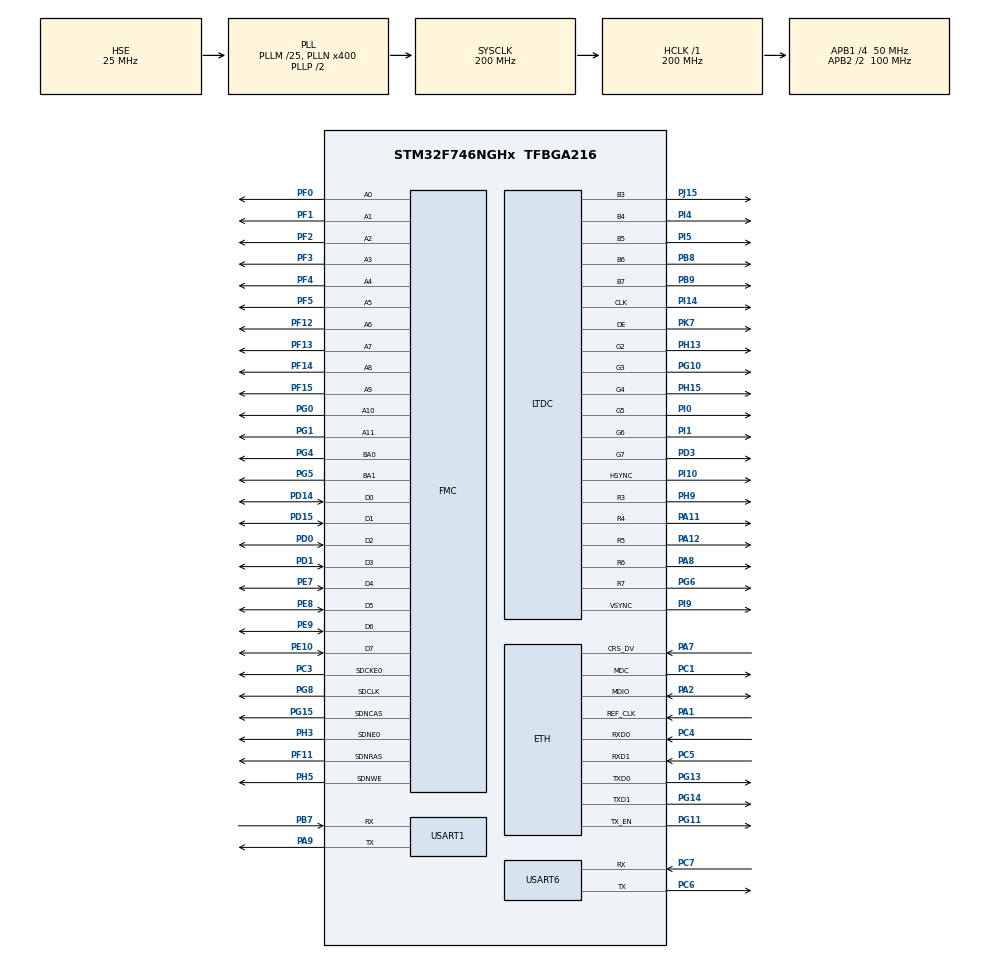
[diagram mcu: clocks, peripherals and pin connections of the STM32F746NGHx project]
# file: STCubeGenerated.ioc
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CORTEX_M7.AccessPermission-Cortex_Memory_Protection_Unit_Region0_Settings=MPU_REGION_FULL_ACCESS
CORTEX_M7.AccessPermission-Cortex_Memory_Protection_Unit_Region1_Settings=MPU_REGION_FULL_ACCESS
CORTEX_M7.AccessPermission-Cortex_Memory_Protection_Unit_Region2_Settings=MPU_REGION_FULL_ACCESS
CORTEX_M7.BaseAddress-Cortex_Memory_Protection_Unit_Region0_Settings=0x20000000
CORTEX_M7.BaseAddress-Cortex_Memory_Protection_Unit_Region1_Settings=0x2004C000
CORTEX_M7.BaseAddress-Cortex_Memory_Protection_Unit_Region2_Settings=0xC0000000
CORTEX_M7.CPU_DCache=Enabled
CORTEX_M7.CPU_ICache=Enabled
CORTEX_M7.DisableExec-Cortex_Memory_Protection_Unit_Region0_Settings=MPU_INSTRUCTION_ACCESS_DISABLE
CORTEX_M7.DisableExec-Cortex_Memory_Protection_Unit_Region1_Settings=MPU_INSTRUCTION_ACCESS_DISABLE
CORTEX_M7.DisableExec-Cortex_Memory_Protection_Unit_Region2_Settings=MPU_INSTRUCTION_ACCESS_DISABLE
CORTEX_M7.Enable-Cortex_Memory_Protection_Unit_Region0_Settings=MPU_REGION_ENABLE
CORTEX_M7.Enable-Cortex_Memory_Protection_Unit_Region1_Settings=MPU_REGION_ENABLE
CORTEX_M7.Enable-Cortex_Memory_Protection_Unit_Region2_Settings=MPU_REGION_ENABLE
CORTEX_M7.IsBufferable-Cortex_Memory_Protection_Unit_Region0_Settings=MPU_ACCESS_BUFFERABLE
CORTEX_M7.IsCacheable-Cortex_Memory_Protection_Unit_Region0_Settings=MPU_ACCESS_CACHEABLE
CORTEX_M7.IsShareable-Cortex_Memory_Protection_Unit_Region0_Settings=MPU_ACCESS_NOT_SHAREABLE
CORTEX_M7.MPU_Control=MPU_PRIVILEGED_DEFAULT
CORTEX_M7.Size-Cortex_Memory_Protection_Unit_Region0_Settings=MPU_REGION_SIZE_512KB
CORTEX_M7.Size-Cortex_Memory_Protection_Unit_Region1_Settings=MPU_REGION_SIZE_16KB
CORTEX_M7.Size-Cortex_Memory_Protection_Unit_Region2_Settings=MPU_REGION_SIZE_16MB
CORTEX_M7.TypeExtField-Cortex_Memory_Protection_Unit_Region0_Settings=MPU_TEX_LEVEL1
CORTEX_M7.TypeExtField-Cortex_Memory_Protection_Unit_Region1_Settings=MPU_TEX_LEVEL1
CORTEX_M7.TypeExtField-Cortex_Memory_Protection_Unit_Region2_Settings=MPU_TEX_LEVEL1
ETH.MediaInterface=HAL_ETH_RMII_MODE
Mcu.Family=STM32F7
Mcu.Name=STM32F746NGHx
Mcu.Package=TFBGA216
NVIC.ETH_IRQn=true\:0\:0\:false\:false\:false\:true\:true\:true
NVIC.PriorityGroup=NVIC_PRIORITYGROUP_4
PA1.Mode=RMII
PA1.Signal=ETH_REF_CLK
PA11.Mode=RGB565
PA11.Signal=LTDC_R4
PA12.Mode=RGB565
PA12.Signal=LTDC_R5
PA2.Mode=RMII
PA2.Signal=ETH_MDIO
PA7.Mode=RMII
PA7.Signal=ETH_CRS_DV
PA8.Mode=RGB565
PA8.Signal=LTDC_R6
PA9.Mode=Asynchronous
PA9.Signal=USART1_TX
PB7.Mode=Asynchronous
PB7.Signal=USART1_RX
PB8.Mode=RGB565
PB8.Signal=LTDC_B6
PB9.Mode=RGB565
PB9.Signal=LTDC_B7
PC1.Mode=RMII
PC1.Signal=ETH_MDC
PC3.Mode=SdramChipSelect1_1
PC3.Signal=FMC_SDCKE0
PC4.Mode=RMII
PC4.Signal=ETH_RXD0
PC5.Mode=RMII
PC5.Signal=ETH_RXD1
PC6.Mode=Asynchronous
PC6.Signal=USART6_TX
PC7.Mode=Asynchronous
PC7.Signal=USART6_RX
PD0.Signal=FMC_D2_DA2
PD1.Signal=FMC_D3_DA3
PD10.Signal=FMC_D15_DA15
PD11.Signal=FMC_A16_CLE
PD14.Signal=FMC_D0_DA0
PD15.Signal=FMC_D1_DA1
PD3.Mode=RGB565
PD3.Signal=LTDC_G7
PD8.Signal=FMC_D13_DA13
PD9.Signal=FMC_D14_DA14
PE0.Signal=FMC_NBL0
PE1.Signal=FMC_NBL1
PE10.Signal=FMC_D7_DA7
PE11.Signal=FMC_D8_DA8
PE12.Signal=FMC_D9_DA9
PE13.Signal=FMC_D10_DA10
PE14.Signal=FMC_D11_DA11
PE15.Signal=FMC_D12_DA12
PE7.Signal=FMC_D4_DA4
PE8.Signal=FMC_D5_DA5
PE9.Signal=FMC_D6_DA6
PF0.Signal=FMC_A0
PF1.Signal=FMC_A1
PF11.Signal=FMC_SDNRAS
PF12.Signal=FMC_A6
PF13.Signal=FMC_A7
PF14.Signal=FMC_A8
PF15.Signal=FMC_A9
PF2.Signal=FMC_A2
PF3.Signal=FMC_A3
PF4.Signal=FMC_A4
PF5.Signal=FMC_A5
PG0.Signal=FMC_A10
PG1.Signal=FMC_A11
PG10.Mode=RGB565
PG10.Signal=LTDC_G3
PG11.Mode=RMII
PG11.Signal=ETH_TX_EN
PG13.Mode=RMII
PG13.Signal=ETH_TXD0
PG14.Mode=RMII
PG14.Signal=ETH_TXD1
PG15.Signal=FMC_SDNCAS
PG4.Signal=FMC_A14_BA0
PG5.Signal=FMC_A15_BA1
PG6.Mode=RGB565
PG6.Signal=LTDC_R7
PG8.Signal=FMC_SDCLK
PH0/OSC_IN.Mode=HSE-External-Oscillator
PH0/OSC_IN.Signal=RCC_OSC_IN
PH1/OSC_OUT.Mode=HSE-External-Oscillator
PH1/OSC_OUT.Signal=RCC_OSC_OUT
PH13.Mode=RGB565
PH13.Signal=LTDC_G2
PH15.Mode=RGB565
PH15.Signal=LTDC_G4
PH3.Mode=SdramChipSelect1_1
PH3.Signal=FMC_SDNE0
PH5.Signal=FMC_SDNWE
PH9.Mode=RGB565
PH9.Signal=LTDC_R3
PI0.Mode=RGB565
PI0.Signal=LTDC_G5
PI1.Mode=RGB565
PI1.Signal=LTDC_G6
PI10.Mode=RGB565
PI10.Signal=LTDC_HSYNC
PI14.Mode=RGB565
PI14.Signal=LTDC_CLK
PI4.Mode=RGB565
PI4.Signal=LTDC_B4
PI5.Mode=RGB565
PI5.Signal=LTDC_B5
PI9.Mode=RGB565
PI9.Signal=LTDC_VSYNC
PJ15.Mode=RGB565
PJ15.Signal=LTDC_B3
PK7.Mode=RGB565
PK7.Signal=LTDC_DE
ProjectManager.HeapSize=0x200
ProjectManager.StackSize=0x400
ProjectManager.TargetToolchain=MDK-ARM V5
RCC.AHBFreq_Value=200000000
RCC.APB1CLKDivider=RCC_HCLK_DIV4
RCC.APB1Freq_Value=50000000
RCC.APB1TimFreq_Value=100000000
RCC.APB2CLKDivider=RCC_HCLK_DIV2
RCC.APB2Freq_Value=100000000
RCC.APB2TimFreq_Value=200000000
RCC.CortexFreq_Value=200000000
RCC.HCLKFreq_Value=200000000
RCC.HSE_VALUE=25000000
RCC.HSI_VALUE=16000000
RCC.LSE_VALUE=32768
RCC.PLLM=25
RCC.PLLN=400
RCC.PLLSAIRDiv=RCC_PLLSAIDIVR_4
RCC.PLLSourceVirtual=RCC_PLLSOURCE_HSE
RCC.SYSCLKFreq_VALUE=200000000
RCC.SYSCLKSource=RCC_SYSCLKSOURCE_PLLCLK
RCC.USBFreq_Value=200000000
RCC.VCOOutputFreq_Value=400000000
SH.FMC_A0.0=FMC_A0,12b-sda1
SH.FMC_A1.0=FMC_A1,12b-sda1
SH.FMC_A10.0=FMC_A10,12b-sda1
SH.FMC_A11.0=FMC_A11,12b-sda1
SH.FMC_A14_BA0.0=FMC_BA0,FourSdramBanks1
SH.FMC_A15_BA1.0=FMC_BA1,FourSdramBanks1
SH.FMC_A16_CLE.0=FMC_A16
SH.FMC_A2.0=FMC_A2,12b-sda1
SH.FMC_A3.0=FMC_A3,12b-sda1
SH.FMC_A4.0=FMC_A4,12b-sda1
SH.FMC_A5.0=FMC_A5,12b-sda1
SH.FMC_A6.0=FMC_A6,12b-sda1
SH.FMC_A7.0=FMC_A7,12b-sda1
SH.FMC_A8.0=FMC_A8,12b-sda1
SH.FMC_A9.0=FMC_A9,12b-sda1
SH.FMC_D0_DA0.0=FMC_D0,sd-8b-d1
SH.FMC_D10_DA10.0=FMC_D10
SH.FMC_D11_DA11.0=FMC_D11
SH.FMC_D12_DA12.0=FMC_D12
SH.FMC_D13_DA13.0=FMC_D13
SH.FMC_D14_DA14.0=FMC_D14
SH.FMC_D15_DA15.0=FMC_D15
SH.FMC_D1_DA1.0=FMC_D1,sd-8b-d1
SH.FMC_D2_DA2.0=FMC_D2,sd-8b-d1
SH.FMC_D3_DA3.0=FMC_D3,sd-8b-d1
SH.FMC_D4_DA4.0=FMC_D4,sd-8b-d1
SH.FMC_D5_DA5.0=FMC_D5,sd-8b-d1
SH.FMC_D6_DA6.0=FMC_D6,sd-8b-d1
SH.FMC_D7_DA7.0=FMC_D7,sd-8b-d1
SH.FMC_D8_DA8.0=FMC_D8
SH.FMC_D9_DA9.0=FMC_D9
SH.FMC_NBL0.0=FMC_NBL0
SH.FMC_NBL1.0=FMC_NBL1
SH.FMC_SDCLK.0=FMC_SDCLK,12b-sda1
SH.FMC_SDNCAS.0=FMC_SDNCAS,12b-sda1
SH.FMC_SDNRAS.0=FMC_SDNRAS,12b-sda1
SH.FMC_SDNWE.0=FMC_SDNWE,12b-sda1
USART1.VirtualMode-Asynchronous=VM_ASYNC
USART6.OverrunDisableParam=ADVFEATURE_OVERRUN_DISABLE
USART6.VirtualMode-Asynchronous=VM_ASYNC
VP_DMA2D_VS_DMA2D.Mode=DMA2D_Activate
board=STCubeGenerated

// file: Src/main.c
/* USER CODE BEGIN Header */
/**
  ******************************************************************************
  * @file           : main.c
  * @brief          : Main program body
  ******************************************************************************
  * @attention
  *
  * <h2><center>&copy; Copyright (c) 2019 STMicroelectronics.
  * All rights reserved.</center></h2>
  *
  * This software component is licensed by ST under BSD 3-Clause license,
  * the "License"; You may not use this file except in compliance with the
  * License. You may obtain a copy of the License at:
  *                        opensource.org/licenses/BSD-3-Clause
  *
  ******************************************************************************
  */
/* USER CODE END Header */
#include "main.h"
#include "string.h"

#if defined ( __ICCARM__ ) /*!< IAR Compiler */
#pragma location=0x2004c000
ETH_DMADescTypeDef  DMARxDscrTab[ETH_RX_DESC_CNT]; /* Ethernet Rx DMA Descriptors */
#pragma location=0x2004c0a0
ETH_DMADescTypeDef  DMATxDscrTab[ETH_TX_DESC_CNT]; /* Ethernet Tx DMA Descriptors */

#elif defined ( __CC_ARM )  /* MDK ARM Compiler */

__attribute__((at(0x2004c000))) ETH_DMADescTypeDef  DMARxDscrTab[ETH_RX_DESC_CNT]; /* Ethernet Rx DMA Descriptors */
__attribute__((at(0x2004c0a0))) ETH_DMADescTypeDef  DMATxDscrTab[ETH_TX_DESC_CNT]; /* Ethernet Tx DMA Descriptors */

#elif defined ( __GNUC__ ) /* GNU Compiler */
ETH_DMADescTypeDef DMARxDscrTab[ETH_RX_DESC_CNT] __attribute__((section(".RxDecripSection"))); /* Ethernet Rx DMA Descriptors */
ETH_DMADescTypeDef DMATxDscrTab[ETH_TX_DESC_CNT] __attribute__((section(".TxDecripSection")));   /* Ethernet Tx DMA Descriptors */

#endif

ETH_TxPacketConfig TxConfig;

DMA2D_HandleTypeDef hdma2d;

ETH_HandleTypeDef heth;

LTDC_HandleTypeDef hltdc;

UART_HandleTypeDef huart1;
UART_HandleTypeDef huart6;

SDRAM_HandleTypeDef hsdram1;

/* USER CODE BEGIN PV */
/* Private variables ---------------------------------------------------------*/

/* USER CODE END PV */

void SystemClock_Config(void);
static void MPU_Initialize(void);
static void MPU_Config(void);
static void MX_GPIO_Init(void);
static void MX_FMC_Init(void);
static void MX_USART1_UART_Init(void);
static void MX_DMA2D_Init(void);
static void MX_USART6_UART_Init(void);
/* USER CODE BEGIN PFP */
/* Private function prototypes -----------------------------------------------*/
extern void BSP_SDRAM_Init(void);
/* USER CODE END PFP */

/* USER CODE BEGIN 0 */
/**
  * Override default HAL_GetTick function
  */
uint32_t HAL_GetTick (void) {
  static uint32_t ticks = 0U;
         uint32_t i;

  if (osKernelGetState () == osKernelRunning) {
    return ((uint32_t)osKernelGetTickCount ());
  }

  /* If Kernel is not running wait approximately 1 ms then increment
     and return auxiliary tick counter value */
  for (i = (SystemCoreClock >> 14U); i > 0U; i--) {
    __NOP(); __NOP(); __NOP(); __NOP(); __NOP(); __NOP();
    __NOP(); __NOP(); __NOP(); __NOP(); __NOP(); __NOP();
  }
  return ++ticks;
}

/**
  * Override default HAL_InitTick function
  */
HAL_StatusTypeDef HAL_InitTick(uint32_t TickPriority) {

  UNUSED(TickPriority);

  return HAL_OK;
}
/* USER CODE END 0 */

int main(void)
{

  /* Enable I-Cache---------------------------------------------------------*/
  SCB_EnableICache();

  /* Enable D-Cache---------------------------------------------------------*/
  SCB_EnableDCache();

  /* MCU Configuration--------------------------------------------------------*/

  /* Reset of all peripherals, Initializes the Flash interface and the Systick. */
  HAL_Init();

  /* MPU Configuration--------------------------------------------------------*/
  MPU_Config();

  /* USER CODE BEGIN Init */
  BSP_SDRAM_Init();                           /* Initialize BSP SDRAM           */
  /* USER CODE END Init */

  /* Configure the system clock */
  SystemClock_Config();

  /* USER CODE BEGIN SysInit */
  SystemCoreClockUpdate();
  /* USER CODE END SysInit */

  /* Initialize all configured peripherals */
  MX_GPIO_Init();
  MX_USART1_UART_Init();
  MX_DMA2D_Init();
  MX_USART6_UART_Init();
  /* USER CODE BEGIN 2 */

	while(1)
	{
		uint8_t data;
		if(HAL_UART_Receive(&huart1,&data,1,0) == HAL_OK)
			HAL_UART_Transmit(&huart6,&data,1,0);

		if(HAL_UART_Receive(&huart6,&data,1,0) == HAL_OK)
			HAL_UART_Transmit(&huart1,&data,1,0);
	}

  /* Initialize CMSIS-RTOS2 */
  osKernelInitialize ();

  /* Create application main thread */
  osThreadNew(app_main, NULL, &app_main_attr);

  /* Start thread execution */
  osKernelStart();

  /* USER CODE END 2 */

  /* Infinite loop */
  while (1)
  {

  }
}

void SystemClock_Config(void)
{
  RCC_OscInitTypeDef RCC_OscInitStruct = {0};
  RCC_ClkInitTypeDef RCC_ClkInitStruct = {0};

  /** Configure the main internal regulator output voltage
  */
  __HAL_RCC_PWR_CLK_ENABLE();
  __HAL_PWR_VOLTAGESCALING_CONFIG(PWR_REGULATOR_VOLTAGE_SCALE1);

  /** Initializes the RCC Oscillators according to the specified parameters
  * in the RCC_OscInitTypeDef structure.
  */
  RCC_OscInitStruct.OscillatorType = RCC_OSCILLATORTYPE_HSE;
  RCC_OscInitStruct.HSEState = RCC_HSE_ON;
  RCC_OscInitStruct.PLL.PLLState = RCC_PLL_ON;
  RCC_OscInitStruct.PLL.PLLSource = RCC_PLLSOURCE_HSE;
  RCC_OscInitStruct.PLL.PLLM = 25;
  RCC_OscInitStruct.PLL.PLLN = 400;
  RCC_OscInitStruct.PLL.PLLP = RCC_PLLP_DIV2;
  RCC_OscInitStruct.PLL.PLLQ = 2;
  if (HAL_RCC_OscConfig(&RCC_OscInitStruct) != HAL_OK)
  {
    Error_Handler();
  }

  /** Activate the Over-Drive mode
  */
  if (HAL_PWREx_EnableOverDrive() != HAL_OK)
  {
    Error_Handler();
  }

  /** Initializes the CPU, AHB and APB buses clocks
  */
  RCC_ClkInitStruct.ClockType = RCC_CLOCKTYPE_HCLK|RCC_CLOCKTYPE_SYSCLK
                              |RCC_CLOCKTYPE_PCLK1|RCC_CLOCKTYPE_PCLK2;
  RCC_ClkInitStruct.SYSCLKSource = RCC_SYSCLKSOURCE_PLLCLK;
  RCC_ClkInitStruct.AHBCLKDivider = RCC_SYSCLK_DIV1;
  RCC_ClkInitStruct.APB1CLKDivider = RCC_HCLK_DIV4;
  RCC_ClkInitStruct.APB2CLKDivider = RCC_HCLK_DIV2;

  if (HAL_RCC_ClockConfig(&RCC_ClkInitStruct, FLASH_LATENCY_6) != HAL_OK)
  {
    Error_Handler();
  }
}

static void MX_DMA2D_Init(void)
{

  hdma2d.Instance = DMA2D;
  hdma2d.Init.Mode = DMA2D_M2M;
  hdma2d.Init.ColorMode = DMA2D_OUTPUT_ARGB8888;
  hdma2d.Init.OutputOffset = 0;
  hdma2d.LayerCfg[1].InputOffset = 0;
  hdma2d.LayerCfg[1].InputColorMode = DMA2D_INPUT_ARGB8888;
  hdma2d.LayerCfg[1].AlphaMode = DMA2D_NO_MODIF_ALPHA;
  hdma2d.LayerCfg[1].InputAlpha = 0;
  if (HAL_DMA2D_Init(&hdma2d) != HAL_OK)
  {
    Error_Handler();
  }
  if (HAL_DMA2D_ConfigLayer(&hdma2d, 1) != HAL_OK)
  {
    Error_Handler();
  }

}

void MX_ETH_Init(void)
{

   static uint8_t MACAddr[6];

  heth.Instance = ETH;
  MACAddr[0] = 0x00;
  MACAddr[1] = 0x80;
  MACAddr[2] = 0xE1;
  MACAddr[3] = 0x00;
  MACAddr[4] = 0x00;
  MACAddr[5] = 0x00;
  heth.Init.MACAddr = &MACAddr[0];
  heth.Init.MediaInterface = HAL_ETH_RMII_MODE;
  heth.Init.TxDesc = DMATxDscrTab;
  heth.Init.RxDesc = DMARxDscrTab;
  heth.Init.RxBuffLen = 1524;

  if (HAL_ETH_Init(&heth) != HAL_OK)
  {
    Error_Handler();
  }

  memset(&TxConfig, 0 , sizeof(ETH_TxPacketConfig));
  TxConfig.Attributes = ETH_TX_PACKETS_FEATURES_CSUM | ETH_TX_PACKETS_FEATURES_CRCPAD;
  TxConfig.ChecksumCtrl = ETH_CHECKSUM_IPHDR_PAYLOAD_INSERT_PHDR_CALC;
  TxConfig.CRCPadCtrl = ETH_CRC_PAD_INSERT;

}

void MX_LTDC_Init(void)
{

  LTDC_LayerCfgTypeDef pLayerCfg = {0};
  LTDC_LayerCfgTypeDef pLayerCfg1 = {0};

  hltdc.Instance = LTDC;
  hltdc.Init.HSPolarity = LTDC_HSPOLARITY_AL;
  hltdc.Init.VSPolarity = LTDC_VSPOLARITY_AL;
  hltdc.Init.DEPolarity = LTDC_DEPOLARITY_AL;
  hltdc.Init.PCPolarity = LTDC_PCPOLARITY_IPC;
  hltdc.Init.HorizontalSync = 7;
  hltdc.Init.VerticalSync = 3;
  hltdc.Init.AccumulatedHBP = 14;
  hltdc.Init.AccumulatedVBP = 5;
  hltdc.Init.AccumulatedActiveW = 654;
  hltdc.Init.AccumulatedActiveH = 485;
  hltdc.Init.TotalWidth = 660;
  hltdc.Init.TotalHeigh = 487;
  hltdc.Init.Backcolor.Blue = 0;
  hltdc.Init.Backcolor.Green = 0;
  hltdc.Init.Backcolor.Red = 0;
  if (HAL_LTDC_Init(&hltdc) != HAL_OK)
  {
    Error_Handler();
  }
  pLayerCfg.WindowX0 = 0;
  pLayerCfg.WindowX1 = 0;
  pLayerCfg.WindowY0 = 0;
  pLayerCfg.WindowY1 = 0;
  pLayerCfg.PixelFormat = LTDC_PIXEL_FORMAT_ARGB8888;
  pLayerCfg.Alpha = 0;
  pLayerCfg.Alpha0 = 0;
  pLayerCfg.BlendingFactor1 = LTDC_BLENDING_FACTOR1_CA;
  pLayerCfg.BlendingFactor2 = LTDC_BLENDING_FACTOR2_CA;
  pLayerCfg.FBStartAdress = 0;
  pLayerCfg.ImageWidth = 0;
  pLayerCfg.ImageHeight = 0;
  pLayerCfg.Backcolor.Blue = 0;
  pLayerCfg.Backcolor.Green = 0;
  pLayerCfg.Backcolor.Red = 0;
  if (HAL_LTDC_ConfigLayer(&hltdc, &pLayerCfg, 0) != HAL_OK)
  {
    Error_Handler();
  }
  pLayerCfg1.WindowX0 = 0;
  pLayerCfg1.WindowX1 = 0;
  pLayerCfg1.WindowY0 = 0;
  pLayerCfg1.WindowY1 = 0;
  pLayerCfg1.PixelFormat = LTDC_PIXEL_FORMAT_ARGB8888;
  pLayerCfg1.Alpha = 0;
  pLayerCfg1.Alpha0 = 0;
  pLayerCfg1.BlendingFactor1 = LTDC_BLENDING_FACTOR1_CA;
  pLayerCfg1.BlendingFactor2 = LTDC_BLENDING_FACTOR2_CA;
  pLayerCfg1.FBStartAdress = 0;
  pLayerCfg1.ImageWidth = 0;
  pLayerCfg1.ImageHeight = 0;
  pLayerCfg1.Backcolor.Blue = 0;
  pLayerCfg1.Backcolor.Green = 0;
  pLayerCfg1.Backcolor.Red = 0;
  if (HAL_LTDC_ConfigLayer(&hltdc, &pLayerCfg1, 1) != HAL_OK)
  {
    Error_Handler();
  }

}

static void MX_USART1_UART_Init(void)
{

  huart1.Instance = USART1;
  huart1.Init.BaudRate = 115200;
  huart1.Init.WordLength = UART_WORDLENGTH_8B;
  huart1.Init.StopBits = UART_STOPBITS_1;
  huart1.Init.Parity = UART_PARITY_NONE;
  huart1.Init.Mode = UART_MODE_TX_RX;
  huart1.Init.HwFlowCtl = UART_HWCONTROL_NONE;
  huart1.Init.OverSampling = UART_OVERSAMPLING_16;
  huart1.Init.OneBitSampling = UART_ONE_BIT_SAMPLE_DISABLE;
  huart1.AdvancedInit.AdvFeatureInit = UART_ADVFEATURE_NO_INIT;
  if (HAL_UART_Init(&huart1) != HAL_OK)
  {
    Error_Handler();
  }

}

static void MX_USART6_UART_Init(void)
{

  huart6.Instance = USART6;
  huart6.Init.BaudRate = 115200;
  huart6.Init.WordLength = UART_WORDLENGTH_8B;
  huart6.Init.StopBits = UART_STOPBITS_1;
  huart6.Init.Parity = UART_PARITY_NONE;
  huart6.Init.Mode = UART_MODE_TX_RX;
  huart6.Init.HwFlowCtl = UART_HWCONTROL_NONE;
  huart6.Init.OverSampling = UART_OVERSAMPLING_16;
  huart6.Init.OneBitSampling = UART_ONE_BIT_SAMPLE_DISABLE;
  huart6.AdvancedInit.AdvFeatureInit = UART_ADVFEATURE_RXOVERRUNDISABLE_INIT;
  huart6.AdvancedInit.OverrunDisable = UART_ADVFEATURE_OVERRUN_DISABLE;
  if (HAL_UART_Init(&huart6) != HAL_OK)
  {
    Error_Handler();
  }

}

/* FMC initialization function */
static void MX_FMC_Init(void)
{

  FMC_SDRAM_TimingTypeDef SdramTiming = {0};

  /** Perform the SDRAM1 memory initialization sequence
  */
  hsdram1.Instance = FMC_SDRAM_DEVICE;
  /* hsdram1.Init */
  hsdram1.Init.SDBank = FMC_SDRAM_BANK1;
  hsdram1.Init.ColumnBitsNumber = FMC_SDRAM_COLUMN_BITS_NUM_8;
  hsdram1.Init.RowBitsNumber = FMC_SDRAM_ROW_BITS_NUM_12;
  hsdram1.Init.MemoryDataWidth = FMC_SDRAM_MEM_BUS_WIDTH_8;
  hsdram1.Init.InternalBankNumber = FMC_SDRAM_INTERN_BANKS_NUM_4;
  hsdram1.Init.CASLatency = FMC_SDRAM_CAS_LATENCY_1;
  hsdram1.Init.WriteProtection = FMC_SDRAM_WRITE_PROTECTION_DISABLE;
  hsdram1.Init.SDClockPeriod = FMC_SDRAM_CLOCK_DISABLE;
  hsdram1.Init.ReadBurst = FMC_SDRAM_RBURST_DISABLE;
  hsdram1.Init.ReadPipeDelay = FMC_SDRAM_RPIPE_DELAY_0;
  /* SdramTiming */
  SdramTiming.LoadToActiveDelay = 16;
  SdramTiming.ExitSelfRefreshDelay = 16;
  SdramTiming.SelfRefreshTime = 16;
  SdramTiming.RowCycleDelay = 16;
  SdramTiming.WriteRecoveryTime = 16;
  SdramTiming.RPDelay = 16;
  SdramTiming.RCDDelay = 16;

  if (HAL_SDRAM_Init(&hsdram1, &SdramTiming) != HAL_OK)
  {
    Error_Handler( );
  }

}

static void MX_GPIO_Init(void)
{

  /* GPIO Ports Clock Enable */
  __HAL_RCC_GPIOG_CLK_ENABLE();
  __HAL_RCC_GPIOE_CLK_ENABLE();
  __HAL_RCC_GPIOB_CLK_ENABLE();
  __HAL_RCC_GPIOD_CLK_ENABLE();
  __HAL_RCC_GPIOA_CLK_ENABLE();
  __HAL_RCC_GPIOI_CLK_ENABLE();
  __HAL_RCC_GPIOK_CLK_ENABLE();
  __HAL_RCC_GPIOF_CLK_ENABLE();
  __HAL_RCC_GPIOJ_CLK_ENABLE();
  __HAL_RCC_GPIOH_CLK_ENABLE();
  __HAL_RCC_GPIOC_CLK_ENABLE();

}

/* MPU Configuration */

void MPU_Config(void)
{
  MPU_Region_InitTypeDef MPU_InitStruct = {0};

  /* Disables the MPU */
  HAL_MPU_Disable();

  /** Initializes and configures the Region and the memory to be protected
  */
  MPU_InitStruct.Enable = MPU_REGION_ENABLE;
  MPU_InitStruct.Number = MPU_REGION_NUMBER0;
  MPU_InitStruct.BaseAddress = 0x20000000;
  MPU_InitStruct.Size = MPU_REGION_SIZE_512KB;
  MPU_InitStruct.SubRegionDisable = 0x0;
  MPU_InitStruct.TypeExtField = MPU_TEX_LEVEL1;
  MPU_InitStruct.AccessPermission = MPU_REGION_FULL_ACCESS;
  MPU_InitStruct.DisableExec = MPU_INSTRUCTION_ACCESS_DISABLE;
  MPU_InitStruct.IsShareable = MPU_ACCESS_NOT_SHAREABLE;
  MPU_InitStruct.IsCacheable = MPU_ACCESS_CACHEABLE;
  MPU_InitStruct.IsBufferable = MPU_ACCESS_BUFFERABLE;

  HAL_MPU_ConfigRegion(&MPU_InitStruct);

  /** Initializes and configures the Region and the memory to be protected
  */
  MPU_InitStruct.Number = MPU_REGION_NUMBER1;
  MPU_InitStruct.BaseAddress = 0x2004C000;
  MPU_InitStruct.Size = MPU_REGION_SIZE_16KB;
  MPU_InitStruct.IsCacheable = MPU_ACCESS_NOT_CACHEABLE;
  MPU_InitStruct.IsBufferable = MPU_ACCESS_NOT_BUFFERABLE;

  HAL_MPU_ConfigRegion(&MPU_InitStruct);

  /** Initializes and configures the Region and the memory to be protected
  */
  MPU_InitStruct.Number = MPU_REGION_NUMBER2;
  MPU_InitStruct.BaseAddress = 0xC0000000;
  MPU_InitStruct.Size = MPU_REGION_SIZE_16MB;

  HAL_MPU_ConfigRegion(&MPU_InitStruct);
  /* Enables the MPU */
  HAL_MPU_Enable(MPU_PRIVILEGED_DEFAULT);

}

void Error_Handler(void)
{
  while(1)
  {
  }
}
